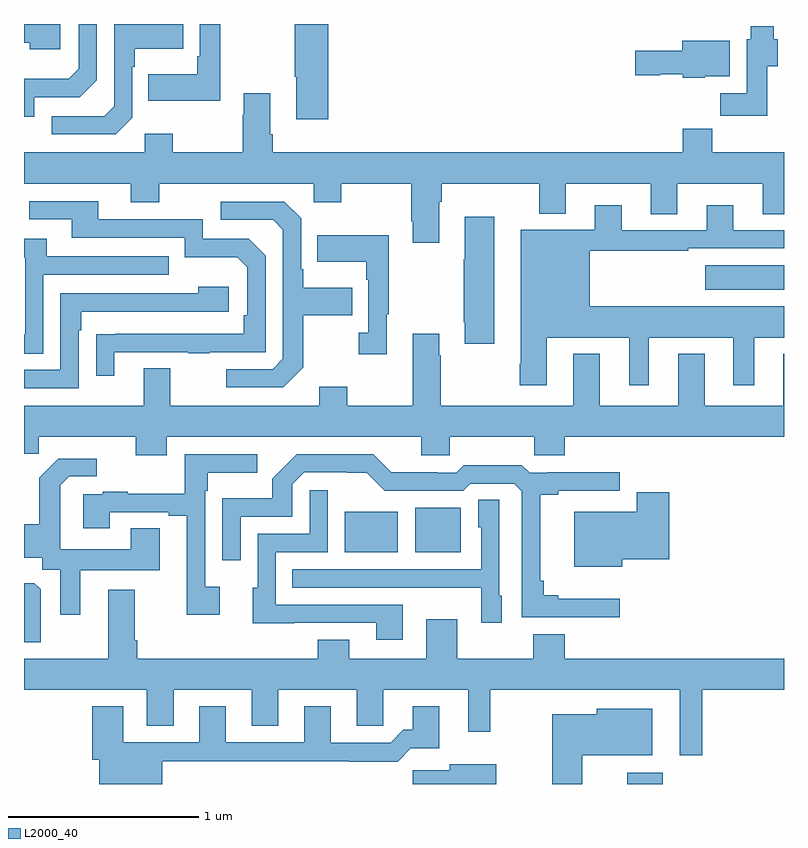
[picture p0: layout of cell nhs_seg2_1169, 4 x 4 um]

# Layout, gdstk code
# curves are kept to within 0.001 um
import gdstk
lib = gdstk.Library(unit=1e-6, precision=1e-09)
def R(c, l, rs):  # rectangles x0, y0, x1, y1
    for r in rs: c.add(gdstk.rectangle(r[:2], r[2:], *l))
def P(c, l, *ps):  # polygons
    for p in ps: c.add(gdstk.Polygon(p, *l))
L2000_40 = (2000, 40)

nhs_seg2_1169 = lib.new_cell('nhs_seg2_1169')
R(nhs_seg2_1169, L2000_40, [(174.175,653.8,174.361,653.86), (172.688,655.019,172.966,655.234), (173.06,655.019,173.299,655.255), (174.585,656.402,175,656.53)])
P(nhs_seg2_1169, L2000_40, [(171.57,657.306),(171.57,657.575),(171.583,657.575),(171.583,657.671),(171.839,657.671),(171.839,657.8),(171.474,657.8),(171.474,657.366),(171.423,657.315),(171.147,657.315),(171.147,657.219),(171.483,657.219)],
  [(172.033,657.8),(171.924,657.8),(171.924,657.631),(171.912,657.631),(171.912,657.535),(171.655,657.535),(171.655,657.395),(172.033,657.395)],
  [(172.601,657.8),(172.426,657.8),(172.426,657.523),(172.433,657.523),(172.433,657.3),(172.601,657.3)],
  [(171.054,657.414),(171.294,657.414),(171.384,657.504),(171.384,657.8),(171.288,657.8),(171.288,657.564),(171.235,657.511),(171,657.511),(171,657.312),(171.054,657.312)],
  [(171.19,657.798),(171,657.798),(171,657.702),(171.029,657.702),(171.029,657.668),(171.19,657.668)],
  [(174.913,657.577),(174.967,657.577),(174.967,657.72),(174.946,657.72),(174.946,657.787),(174.824,657.787),(174.824,657.72),(174.803,657.72),(174.803,657.436),(174.664,657.436),(174.664,657.318),(174.913,657.318)],
  [(174.582,657.524),(174.715,657.524),(174.715,657.712),(174.464,657.712),(174.464,657.658),(174.216,657.658),(174.216,657.529),(174.348,657.529),(174.348,657.536),(174.468,657.536),(174.468,657.518),(174.582,657.518)],
  [(173.185,656.864),(173.198,656.864),(173.198,656.96),(173.711,656.96),(173.711,656.801),(173.851,656.801),(173.851,656.96),(174.299,656.96),(174.299,656.8),(174.439,656.8),(174.439,656.96),(174.887,656.96),(174.887,656.8),(175,656.8),(175,657.124),(174.623,657.124),(174.623,657.248),(174.467,657.248),(174.467,657.124),(172.31,657.124),(172.31,657.22),(172.297,657.22),(172.297,657.436),(172.157,657.436),(172.157,657.323),(172.15,657.323),(172.15,657.124),(171.783,657.124),(171.783,657.223),(171.636,657.223),(171.636,657.124),(171,657.124),(171,656.96),(171.563,656.96),(171.563,656.861),(171.711,656.861),(171.711,656.96),(172.524,656.96),(172.524,656.861),(172.671,656.861),(172.671,656.96),(173.038,656.96),(173.038,656.761),(173.045,656.761),(173.045,656.649),(173.185,656.649)],
  [(171.475,656.073),(171.865,656.073),(171.865,656.068),(171.977,656.068),(171.977,656.073),(172.272,656.073),(172.272,656.58),(172.182,656.67),(171.942,656.67),(171.942,656.772),(171.391,656.772),(171.391,656.868),(171.027,656.868),(171.027,656.772),(171.251,656.772),(171.251,656.676),(171.846,656.676),(171.846,656.573),(172.123,656.573),(172.176,656.52),(172.176,656.266),(172.156,656.266),(172.156,656.169),(171.379,656.168),(171.379,655.95),(171.475,655.95)],
  [(172.471,655.993),(172.471,656.266),(172.727,656.266),(172.727,656.413),(172.471,656.413),(172.471,656.509),(172.458,656.509),(172.458,656.778),(172.371,656.865),(172.035,656.865),(172.035,656.769),(172.311,656.769),(172.362,656.718),(172.362,656.037),(172.308,655.983),(172.065,655.983),(172.065,655.887),(172.365,655.887)],
  [(173.752,656.15),(174.185,656.15),(174.185,655.899),(174.289,655.899),(174.289,656.15),(174.734,656.15),(174.734,655.899),(174.844,655.899),(174.844,656.15),(175,656.15),(175,656.314),(173.977,656.314),(173.977,656.607),(174.497,656.607),(174.497,656.619),(175,656.619),(175,656.715),(174.733,656.715),(174.733,656.845),(174.593,656.845),(174.593,656.715),(174.145,656.715),(174.145,656.845),(174.005,656.845),(174.005,656.716),(173.615,656.716),(173.615,656.011),(173.608,656.011),(173.608,655.899),(173.752,655.899)],
  [(173.476,656.785),(173.321,656.785),(173.321,656.561),(173.314,656.561),(173.314,656.23),(173.321,656.23),(173.321,656.118),(173.476,656.118)],
  [(172.909,656.273),(172.921,656.273),(172.921,656.689),(172.543,656.689),(172.543,656.549),(172.8,656.549),(172.8,656.453),(172.812,656.453),(172.812,656.174),(172.761,656.174),(172.761,656.061),(172.909,656.061)],
  [(171.102,656.481),(171.761,656.481),(171.761,656.577),(171.121,656.577),(171.121,656.671),(171,656.671),(171,656.571),(171.006,656.571),(171.006,656.166),(171,656.166),(171,656.065),(171.102,656.065)],
  [(171.288,656.189),(171.301,656.189),(171.301,656.286),(172.078,656.286),(172.078,656.416),(171.917,656.416),(171.917,656.382),(171.192,656.382),(171.192,655.98),(171,655.98),(171,655.884),(171.288,655.884)],
  [(171.751,655.628),(173.09,655.628),(173.09,655.53),(173.241,655.53),(173.241,655.628),(173.686,655.628),(173.686,655.53),(173.846,655.53),(173.846,655.628),(175,655.628),(175,656.065),(174.995,656.065),(174.995,655.792),(174.583,655.792),(174.583,656.065),(174.443,656.065),(174.443,655.792),(174.031,655.792),(174.031,656.065),(173.891,656.065),(173.891,655.792),(173.193,655.792),(173.193,656.057),(173.185,656.057),(173.185,656.17),(173.045,656.17),(173.045,655.792),(172.701,655.792),(172.701,655.891),(172.553,655.891),(172.553,655.792),(171.769,655.792),(171.769,655.987),(171.629,655.987),(171.629,655.792),(171,655.792),(171,655.538),(171.077,655.538),(171.077,655.628),(171.587,655.628),(171.587,655.529),(171.751,655.529)],
  [(174.136,654.775),(173.812,654.775),(173.812,654.794),(173.735,654.794),(173.735,654.871),(173.717,654.871),(173.717,655.322),(173.812,655.322),(173.812,655.344),(174.136,655.344),(174.136,655.442),(173.755,655.442),(173.755,655.437),(173.661,655.437),(173.621,655.477),(173.314,655.477),(173.274,655.437),(173.174,655.437),(173.174,655.442),(172.934,655.442),(172.839,655.536),(172.436,655.536),(172.306,655.406),(172.306,655.303),(172.044,655.303),(172.044,654.978),(172.14,654.978),(172.14,655.206),(172.413,655.206),(172.413,655.377),(172.476,655.44),(172.805,655.439),(172.899,655.344),(173.313,655.344),(173.349,655.38),(173.58,655.38),(173.619,655.341),(173.619,654.678),(174.136,654.678)],
  [(172.03,654.838),(171.954,654.838),(171.954,655.343),(171.967,655.343),(171.967,655.439),(172.228,655.439),(172.228,655.536),(171.846,655.536),(171.846,655.328),(171.547,655.328),(171.547,655.339),(171.415,655.339),(171.415,655.326),(171.311,655.326),(171.311,655.146),(171.451,655.146),(171.451,655.23),(171.761,655.23),(171.761,655.212),(171.857,655.212),(171.857,654.69),(172.03,654.69)],
  [(171.295,654.926),(171.715,654.926),(171.715,655.145),(171.563,655.145),(171.563,655.036),(171.192,655.036),(171.192,655.277),(171.19,655.277),(171.19,655.372),(171.237,655.419),(171.382,655.419),(171.382,655.513),(171.181,655.513),(171.081,655.413),(171.081,655.168),(171,655.168),(171,654.992),(171.096,654.992),(171.096,654.928),(171.191,654.928),(171.191,654.69),(171.295,654.69)],
  [(172.993,654.744),(172.326,654.744),(172.326,655.02),(172.599,655.02),(172.599,655.345),(172.503,655.345),(172.503,655.116),(172.23,655.116),(172.23,654.834),(172.205,654.834),(172.205,654.647),(172.423,654.647),(172.423,654.648),(172.853,654.648),(172.853,654.558),(172.993,654.558)],
  [(174.148,654.983),(174.395,654.983),(174.395,655.336),(174.224,655.336),(174.224,655.234),(173.897,655.234),(173.897,654.944),(174.148,654.944)],
  [(173.515,654.792),(173.502,654.792),(173.502,655.295),(173.39,655.295),(173.39,655.152),(173.406,655.152),(173.406,654.93),(172.411,654.93),(172.411,654.834),(173.089,654.834),(173.089,654.833),(173.406,654.833),(173.406,654.648),(173.515,654.648)],
  [(171.087,654.825),(171.055,654.857),(171,654.857),(171,654.545),(171.087,654.545)],
  [(172.547,654.559),(172.547,654.46),(171.596,654.46),(171.596,654.556),(171.583,654.556),(171.583,654.823),(171.443,654.823),(171.443,654.46),(171,654.46),(171,654.296),(171.647,654.296),(171.647,654.106),(171.787,654.106),(171.787,654.296),(172.199,654.296),(172.199,654.106),(172.339,654.106),(172.339,654.296),(172.751,654.296),(172.751,654.106),(172.89,654.106),(172.89,654.296),(173.339,654.296),(173.339,654.075),(173.453,654.075),(173.453,654.296),(174.452,654.296),(174.452,653.952),(174.569,653.952),(174.569,654.296),(175,654.296),(175,654.46),(173.845,654.46),(173.845,654.589),(173.681,654.589),(173.681,654.46),(173.281,654.46),(173.281,654.667),(173.117,654.667),(173.117,654.46),(172.711,654.46),(172.711,654.559)],
  [(171.727,653.92),(172.711,653.92),(172.711,653.918),(172.967,653.918),(173.036,653.987),(173.185,653.987),(173.185,654.208),(173.045,654.208),(173.045,654.085),(172.996,654.085),(172.929,654.018),(172.615,654.018),(172.615,654.208),(172.475,654.208),(172.475,654.021),(172.063,654.021),(172.063,654.208),(171.923,654.208),(171.923,654.021),(171.523,654.021),(171.523,654.208),(171.359,654.208),(171.359,653.928),(171.395,653.928),(171.395,653.8),(171.727,653.8)],
  [(173.938,653.951),(174.307,653.951),(174.307,654.196),(174.014,654.196),(174.014,654.166),(173.78,654.166),(173.78,653.8),(173.938,653.8)],
  [(173.485,653.905),(173.24,653.905),(173.24,653.873),(173.046,653.873),(173.046,653.8),(173.485,653.8)])

lib.write_gds('nhs_seg2_1169.gds')
